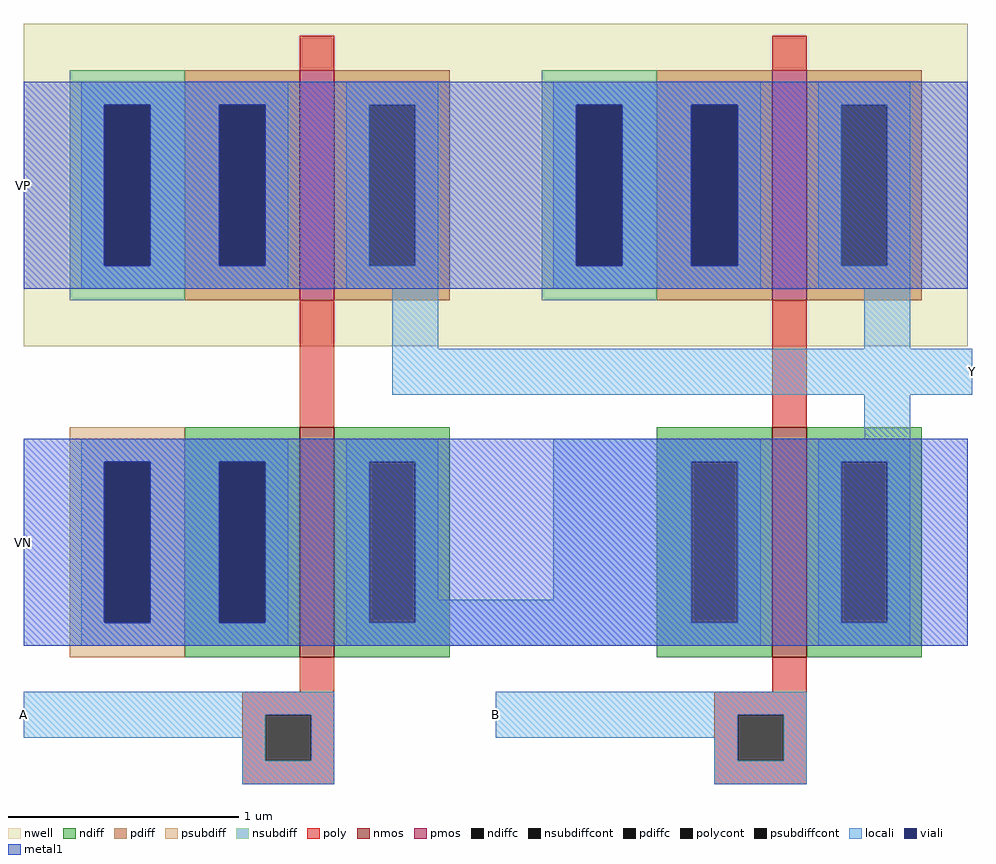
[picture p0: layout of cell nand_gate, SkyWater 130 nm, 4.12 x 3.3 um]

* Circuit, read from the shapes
.subckt nand_gate A B VP VN Y
XM1 n1 A VN VN sky130_fd_pr__nfet_01v8 w=1 l=0.15
XM2 Y B n1 VN sky130_fd_pr__nfet_01v8 w=1 l=0.15
XM3 Y A VP VP sky130_fd_pr__pfet_01v8 w=1 l=0.15
XM4 Y B VP VP sky130_fd_pr__pfet_01v8 w=1 l=0.15
.ends

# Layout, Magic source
magic
tech sky130A
<< nwell >>
rect -120 135 290 275
<< nmos >>
rect 0 0 15 100
rect 205 0 220 100
<< pmos >>
rect 0 155 15 255
rect 205 155 220 255
<< ndiff >>
rect -50 85 0 100
rect -50 15 -35 85
rect -15 15 0 85
rect -50 0 0 15
rect 15 85 65 100
rect 15 15 30 85
rect 50 15 65 85
rect 15 0 65 15
rect 155 85 205 100
rect 155 15 170 85
rect 190 15 205 85
rect 155 0 205 15
rect 220 85 270 100
rect 220 15 235 85
rect 255 15 270 85
rect 220 0 270 15
<< pdiff >>
rect -50 240 0 255
rect -50 170 -35 240
rect -15 170 0 240
rect -50 155 0 170
rect 15 240 65 255
rect 15 170 30 240
rect 50 170 65 240
rect 15 155 65 170
rect 155 240 205 255
rect 155 170 170 240
rect 190 170 205 240
rect 155 155 205 170
rect 220 240 270 255
rect 220 170 235 240
rect 255 170 270 240
rect 220 155 270 170
<< ndiffc >>
rect -35 15 -15 85
rect 30 15 50 85
rect 170 15 190 85
rect 235 15 255 85
<< pdiffc >>
rect -35 170 -15 240
rect 30 170 50 240
rect 170 170 190 240
rect 235 170 255 240
<< psubdiff >>
rect -100 85 -50 100
rect -100 15 -85 85
rect -65 15 -50 85
rect -100 0 -50 15
<< nsubdiff >>
rect -100 240 -50 255
rect -100 170 -85 240
rect -65 170 -50 240
rect -100 155 -50 170
rect 105 240 155 255
rect 105 170 120 240
rect 140 170 155 240
rect 105 155 155 170
<< psubdiffcont >>
rect -85 15 -65 85
<< nsubdiffcont >>
rect -85 170 -65 240
rect 120 170 140 240
<< poly >>
rect 0 255 15 270
rect 205 255 220 270
rect 0 100 15 155
rect 205 100 220 155
rect 0 -15 15 0
rect 205 -15 220 0
rect -25 -25 15 -15
rect -25 -45 -15 -25
rect 5 -45 15 -25
rect -25 -55 15 -45
rect 180 -25 220 -15
rect 180 -45 190 -25
rect 210 -45 220 -25
rect 180 -55 220 -45
<< polycont >>
rect -15 -45 5 -25
rect 190 -45 210 -25
<< locali >>
rect -95 240 -5 250
rect -95 170 -85 240
rect -65 170 -35 240
rect -15 170 -5 240
rect -95 160 -5 170
rect 20 240 60 250
rect 20 170 30 240
rect 50 170 60 240
rect 20 160 60 170
rect 110 240 200 250
rect 110 170 120 240
rect 140 170 170 240
rect 190 170 200 240
rect 110 160 200 170
rect 225 240 265 250
rect 225 170 235 240
rect 255 170 265 240
rect 225 160 265 170
rect 40 134 60 160
rect 245 134 265 160
rect 40 114 292 134
rect 245 95 265 114
rect -95 85 -5 95
rect -95 15 -85 85
rect -65 15 -35 85
rect -15 15 -5 85
rect -95 5 -5 15
rect 20 85 60 95
rect 20 15 30 85
rect 50 25 60 85
rect 110 85 200 95
rect 110 25 170 85
rect 50 15 170 25
rect 190 15 200 85
rect 20 5 200 15
rect 225 85 265 95
rect 225 15 235 85
rect 255 15 265 85
rect 225 5 265 15
rect -120 -25 15 -15
rect -120 -35 -15 -25
rect -25 -45 -15 -35
rect 5 -45 15 -25
rect 85 -25 220 -15
rect 85 -35 190 -25
rect -25 -55 15 -45
rect 180 -45 190 -35
rect 210 -45 220 -25
rect 180 -55 220 -45
<< viali >>
rect -85 170 -65 240
rect -35 170 -15 240
rect 120 170 140 240
rect 170 170 190 240
rect -85 15 -65 85
rect -35 15 -15 85
<< metal1 >>
rect -120 240 290 250
rect -120 170 -85 240
rect -65 170 -35 240
rect -15 170 120 240
rect 140 170 170 240
rect 190 170 290 240
rect -120 160 290 170
rect -120 85 290 95
rect -120 15 -85 85
rect -65 15 -35 85
rect -15 15 290 85
rect -120 5 290 15
<< labels >>
rlabel locali -120 -25 -120 -25 7 A
port 1 w
rlabel metal1 -120 205 -120 205 7 VP
port 3 w
rlabel metal1 -120 50 -120 50 7 VN
port 4 w
rlabel locali 85 -25 85 -25 7 B
port 2 w
rlabel locali 292 124 292 124 3 Y
port 5 e
<< end >>
